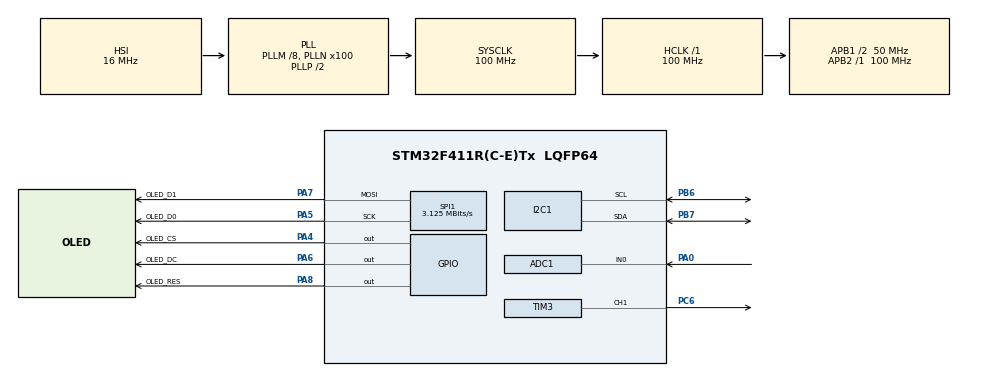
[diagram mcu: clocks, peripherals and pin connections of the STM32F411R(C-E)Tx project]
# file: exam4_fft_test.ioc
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ADC1.Channel-0\#ChannelRegularConversion=ADC_CHANNEL_0
ADC1.ClockPrescaler=ADC_CLOCK_SYNC_PCLK_DIV4
ADC1.ContinuousConvMode=DISABLE
ADC1.DMAContinuousRequests=ENABLE
ADC1.ExternalTrigConv=ADC_EXTERNALTRIGCONV_T2_TRGO
ADC1.NbrOfConversionFlag=1
ADC1.Rank-0\#ChannelRegularConversion=1
ADC1.SamplingTime-0\#ChannelRegularConversion=ADC_SAMPLETIME_3CYCLES
ADC1.master=1
Dma.ADC1.0.Direction=DMA_PERIPH_TO_MEMORY
Dma.ADC1.0.FIFOMode=DMA_FIFOMODE_DISABLE
Dma.ADC1.0.Instance=DMA2_Stream0
Dma.ADC1.0.MemDataAlignment=DMA_MDATAALIGN_HALFWORD
Dma.ADC1.0.MemInc=DMA_MINC_ENABLE
Dma.ADC1.0.Mode=DMA_CIRCULAR
Dma.ADC1.0.PeriphDataAlignment=DMA_PDATAALIGN_HALFWORD
Dma.ADC1.0.PeriphInc=DMA_PINC_DISABLE
Dma.ADC1.0.Priority=DMA_PRIORITY_LOW
Dma.Request0=ADC1
I2C1.I2C_Mode=I2C_Standard
Mcu.Family=STM32F4
Mcu.Name=STM32F411R(C-E)Tx
Mcu.Package=LQFP64
NVIC.DMA2_Stream0_IRQn=true\:0\:0\:false\:false\:true\:false\:true\:true
NVIC.PriorityGroup=NVIC_PRIORITYGROUP_4
NVIC.TIM2_IRQn=true\:0\:0\:false\:false\:true\:true\:true\:true
PA0-WKUP.Signal=ADCx_IN0
PA4.GPIO_Label=OLED_CS
PA4.Signal=GPIO_Output
PA5.GPIO_Label=OLED_D0
PA5.Mode=TX_Only_Simplex_Unidirect_Master
PA5.Signal=SPI1_SCK
PA6.GPIO_Label=OLED_DC
PA6.Signal=GPIO_Output
PA7.GPIO_Label=OLED_D1
PA7.Mode=TX_Only_Simplex_Unidirect_Master
PA7.Signal=SPI1_MOSI
PA8.GPIO_Label=OLED_RES
PA8.Signal=GPIO_Output
PB6.GPIO_Pu=GPIO_PULLUP
PB6.Mode=I2C
PB6.Signal=I2C1_SCL
PB7.GPIO_Pu=GPIO_PULLUP
PB7.Mode=I2C
PB7.Signal=I2C1_SDA
PC6.Signal=S_TIM3_CH1
ProjectManager.HeapSize=0x200
ProjectManager.StackSize=0x400
ProjectManager.TargetToolchain=STM32CubeIDE
RCC.48MHZClocksFreq_Value=50000000
RCC.AHBFreq_Value=100000000
RCC.APB1CLKDivider=RCC_HCLK_DIV2
RCC.APB1Freq_Value=50000000
RCC.APB1TimFreq_Value=100000000
RCC.APB2Freq_Value=100000000
RCC.APB2TimFreq_Value=100000000
RCC.CortexFreq_Value=100000000
RCC.HCLKFreq_Value=100000000
RCC.HSE_VALUE=25000000
RCC.HSI_VALUE=16000000
RCC.LSE_VALUE=32768
RCC.PLLM=8
RCC.PLLN=100
RCC.SYSCLKFreq_VALUE=100000000
RCC.SYSCLKSource=RCC_SYSCLKSOURCE_PLLCLK
RCC.VCOOutputFreq_Value=200000000
SH.ADCx_IN0.0=ADC1_IN0,IN0
SH.S_TIM3_CH1.0=TIM3_CH1,PWM Generation1 CH1
SPI1.BaudRatePrescaler=SPI_BAUDRATEPRESCALER_32
SPI1.CLKPhase=SPI_PHASE_2EDGE
SPI1.CLKPolarity=SPI_POLARITY_HIGH
SPI1.CalculateBaudRate=3.125 MBits/s
SPI1.Direction=SPI_DIRECTION_2LINES
SPI1.Mode=SPI_MODE_MASTER
SPI1.VirtualNSS=VM_NSSHARD
SPI1.VirtualType=VM_MASTER
TIM2.Period=25-1
TIM2.Prescaler=100-1
TIM2.TIM_MasterOutputTrigger=TIM_TRGO_UPDATE
TIM3.Channel-PWM\ Generation1\ CH1=TIM_CHANNEL_1
TIM3.Period=1000-1
TIM3.Prescaler=100-1
TIM3.Pulse-PWM\ Generation1\ CH1=500-1
VP_TIM2_VS_ClockSourceINT.Mode=Internal
VP_TIM3_VS_ClockSourceINT.Mode=Internal
board=custom

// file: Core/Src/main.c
/* USER CODE BEGIN Header */
/**
  ******************************************************************************
  * @file           : main.c
  * @brief          : Main program body
  ******************************************************************************
  * @attention
  *
  * Copyright (c) 2024 STMicroelectronics.
  * All rights reserved.
  *
  * This software is licensed under terms that can be found in the LICENSE file
  * in the root directory of this software component.
  * If no LICENSE file comes with this software, it is provided AS-IS.
  *
  ******************************************************************************
  */
/* USER CODE END Header */
#include "main.h"

/* USER CODE BEGIN Includes */
#include "u8g2/u8g2.h"
#include "arm_math.h"
#include "I2C_CLCD.h"
/* USER CODE END Includes */

/* USER CODE BEGIN PD */
// adding for FFT
#define SamplesFft 2048
#define SamplingRate 40000
/* USER CODE END PD */

ADC_HandleTypeDef hadc1;
DMA_HandleTypeDef hdma_adc1;

I2C_HandleTypeDef hi2c1;

SPI_HandleTypeDef hspi1;

TIM_HandleTypeDef htim2;
TIM_HandleTypeDef htim3;

/* USER CODE BEGIN PV */
  // for FFTtest
//float32_t FFT_Input_Q15_f[50];
//float32_t aFFT_Input_Q15[50];
/* USER CODE END PV */

void SystemClock_Config(void);
static void MX_GPIO_Init(void);
static void MX_DMA_Init(void);
static void MX_SPI1_Init(void);
static void MX_ADC1_Init(void);
static void MX_TIM2_Init(void);
static void MX_TIM3_Init(void);
static void MX_I2C1_Init(void);
/* USER CODE BEGIN PFP */
uint8_t u8x8_stm32_gpio_and_delay(u8x8_t *u8x8, uint8_t msg, uint8_t arg_int, void *arg_ptr);
uint8_t u8x8_byte_stm32_hw_spi(u8x8_t *u8x8, uint8_t msg, uint8_t arg_int, void *arg_ptr);
/* USER CODE END PFP */

/* USER CODE BEGIN 0 */
static u8g2_t u8g2;
uint32_t doConvert = 128;

// adding for FFT
uint16_t adcValue[SamplesFft];
float32_t input[SamplesFft];
float32_t output[SamplesFft];

void HAL_TIM_PeriodElapsedCallback(TIM_HandleTypeDef *htim){
	if(doConvert > 0) doConvert--;

}
/* USER CODE END 0 */

int main(void)
{

  /* USER CODE BEGIN 1 */
//	arm_float_to_q15((float32_t *)&FFT_Input_Q15_f[0], (q15_t *)&aFFT_Input_Q15[0], SamplesFft*2);
  /* USER CODE END 1 */

  /* MCU Configuration--------------------------------------------------------*/

  /* Reset of all peripherals, Initializes the Flash interface and the Systick. */
  HAL_Init();

  /* Configure the system clock */
  SystemClock_Config();

  /* Initialize all configured peripherals */
  MX_GPIO_Init();
  MX_DMA_Init();
  MX_SPI1_Init();
  MX_ADC1_Init();
  MX_TIM2_Init();
  MX_TIM3_Init();
  MX_I2C1_Init();
  /* USER CODE BEGIN 2 */

//  uint16_t adcValue;
//  HAL_ADC_Start_DMA(&hadc1, &adcValue, 1);
  uint16_t adcValue[SamplesFft];
  HAL_ADC_Start_DMA(&hadc1, (uint32_t *)adcValue, SamplesFft);  // Do not need anything to read sound reference

  // timer start
  HAL_TIM_Base_Start_IT(&htim2);
  HAL_TIM_PWM_Start(&htim3, TIM_CHANNEL_1);

  // init CLCD
  I2C_CLCD_init(&hi2c1);

  // ssd1306 setup
  u8g2_Setup_ssd1306_128x64_noname_f(&u8g2, U8G2_R0, u8x8_byte_stm32_hw_spi, u8x8_stm32_gpio_and_delay);
  u8g2_InitDisplay(&u8g2);				// init
  u8g2_SetPowerSave(&u8g2, 0);		// 1 is power off, 0 is on
  u8g2_ClearBuffer(&u8g2);
  u8g2_SetFont(&u8g2, u8g2_font_5x7_mf);
  /* USER CODE END 2 */

  /* Infinite loop */
  /* USER CODE BEGIN WHILE */
  u8g2_SetDrawColor(&u8g2, 1);

  /*/ init test code
  int lineNumber = 10;
  for (int address = 0; address < 256; address++) {
  	// ACK check code
  	if(HAL_I2C_IsDeviceReady(&hi2c1, address, 0, 1) == HAL_OK){
  		char str[20];
  		sprintf(str, "0x%02x", address);

  		u8g2_DrawStr(&u8g2, 0, lineNumber, str);
  		lineNumber += 10;
  	}
  }
  u8g2_SendBuffer(&u8g2);
  while(1);
  /*/

  // lcd custom font
  I2C_CLCD_CustomFontVertical();

  for (int i = 0; i<17; i++){
  	I2C_CLCD_ProgressbarVertical(i, 0);
  	I2C_CLCD_ProgressbarVertical(16-i, 1);
  	HAL_Delay(50);
  }

  while(1);
  //*/

  // adding for FFT
  arm_rfft_fast_instance_f32 fftInstance;
  arm_rfft_fast_init_f32(&fftInstance, SamplesFft);

  // vertical progress bar font
  I2C_CLCD_CustomFontVertical();

  while (1)
  {
  	static int time;
  	static int freq = 1;

  	if ((HAL_GetTick() - time) > 10){
  		time = HAL_GetTick();
  		freq += 10;
  		freq %= 10000;
  		htim3.Instance->ARR = 1000000 / freq - 1;
  		htim3.Instance->CNT = 0;
  		htim3.Instance->CCR1 = htim3.Instance->ARR / 2;
  	}

  	if(doConvert == 0){
  		doConvert = SamplesFft;
  		// Action
  		for(int i=0; i<SamplesFft; i++)
  			input[i] = (float32_t) adcValue[i];

  		// Calculate fft
  		arm_rfft_fast_f32(&fftInstance, input, output, 0);

  		// search frequency
  		float32_t magnitude[SamplesFft/2];
  		arm_cmplx_mag_f32(output, magnitude, SamplesFft/2);

  		// save jinpock
  		uint32_t maxIndex = 0;
  		float32_t maxValue = 0;
  		for (int i=2; i < SamplesFft/2; i++){
  			if(magnitude[i] > maxValue){
  				maxValue = magnitude[i];
  				maxIndex = i;
  			}
  		}
  		float fequency = maxIndex * ((float)SamplingRate / (float)SamplesFft);

  	  // align data
  	  uint32_t showData[128] = {0,};
  	  for (int i=0; i<128; i++){
  		  for (int k=0; k<8; k++){
  			  showData[i] += output[i*8 + k];
  		  }
  		  showData[i] /= 40000;
  	  }

  	  // Align data for lcd
  	  uint32_t showDataLcd[16] = {0, };
  	  for (int i = 0; i < 16; i++){
  	  	for (int k = 0; k < 64; k++){
  	  		showDataLcd[i] += output[i*64 + k];
  	  	}
  	  	showDataLcd[i] /= 40000;
  	  }

  		// Show display
    	u8g2_ClearBuffer(&u8g2);
    	// whye 0, 1 is not used? most of time those values are noise
    	for(int x = 2; x <128; x++){
    		if (showData[x] > 63) showData[x] = 63;
    		// 63? 64? line will be start from left top
    		u8g2_DrawLine(&u8g2, x, 63, x, 64-showData[x]);
    	}

    	char str[20];
    	sprintf(str, "%5d Hz", (int)fequency);

    	// show frequency
    	u8g2_DrawStr(&u8g2, 70, 10, str);
    	u8g2_SendBuffer(&u8g2);

    	// show in LCD
    	for (int x=0; x < 16; x++){
    		I2C_CLCD_ProgressbarVertical(showDataLcd[x], x);
    	}

//    	I2C_CLCD_GotoXY(0, 0);
//    	I2C_CLCD_PutStr(str);
  	}
    /* USER CODE END WHILE */

  }
}

void SystemClock_Config(void)
{
  RCC_OscInitTypeDef RCC_OscInitStruct = {0};
  RCC_ClkInitTypeDef RCC_ClkInitStruct = {0};

  /** Configure the main internal regulator output voltage
  */
  __HAL_RCC_PWR_CLK_ENABLE();
  __HAL_PWR_VOLTAGESCALING_CONFIG(PWR_REGULATOR_VOLTAGE_SCALE1);

  /** Initializes the RCC Oscillators according to the specified parameters
  * in the RCC_OscInitTypeDef structure.
  */
  RCC_OscInitStruct.OscillatorType = RCC_OSCILLATORTYPE_HSI;
  RCC_OscInitStruct.HSIState = RCC_HSI_ON;
  RCC_OscInitStruct.HSICalibrationValue = RCC_HSICALIBRATION_DEFAULT;
  RCC_OscInitStruct.PLL.PLLState = RCC_PLL_ON;
  RCC_OscInitStruct.PLL.PLLSource = RCC_PLLSOURCE_HSI;
  RCC_OscInitStruct.PLL.PLLM = 8;
  RCC_OscInitStruct.PLL.PLLN = 100;
  RCC_OscInitStruct.PLL.PLLP = RCC_PLLP_DIV2;
  RCC_OscInitStruct.PLL.PLLQ = 4;
  if (HAL_RCC_OscConfig(&RCC_OscInitStruct) != HAL_OK)
  {
    Error_Handler();
  }

  /** Initializes the CPU, AHB and APB buses clocks
  */
  RCC_ClkInitStruct.ClockType = RCC_CLOCKTYPE_HCLK|RCC_CLOCKTYPE_SYSCLK
                              |RCC_CLOCKTYPE_PCLK1|RCC_CLOCKTYPE_PCLK2;
  RCC_ClkInitStruct.SYSCLKSource = RCC_SYSCLKSOURCE_PLLCLK;
  RCC_ClkInitStruct.AHBCLKDivider = RCC_SYSCLK_DIV1;
  RCC_ClkInitStruct.APB1CLKDivider = RCC_HCLK_DIV2;
  RCC_ClkInitStruct.APB2CLKDivider = RCC_HCLK_DIV1;

  if (HAL_RCC_ClockConfig(&RCC_ClkInitStruct, FLASH_LATENCY_3) != HAL_OK)
  {
    Error_Handler();
  }
}

static void MX_ADC1_Init(void)
{

  ADC_ChannelConfTypeDef sConfig = {0};

  /** Configure the global features of the ADC (Clock, Resolution, Data Alignment and number of conversion)
  */
  hadc1.Instance = ADC1;
  hadc1.Init.ClockPrescaler = ADC_CLOCK_SYNC_PCLK_DIV4;
  hadc1.Init.Resolution = ADC_RESOLUTION_12B;
  hadc1.Init.ScanConvMode = DISABLE;
  hadc1.Init.ContinuousConvMode = DISABLE;
  hadc1.Init.DiscontinuousConvMode = DISABLE;
  hadc1.Init.ExternalTrigConvEdge = ADC_EXTERNALTRIGCONVEDGE_RISING;
  hadc1.Init.ExternalTrigConv = ADC_EXTERNALTRIGCONV_T2_TRGO;
  hadc1.Init.DataAlign = ADC_DATAALIGN_RIGHT;
  hadc1.Init.NbrOfConversion = 1;
  hadc1.Init.DMAContinuousRequests = ENABLE;
  hadc1.Init.EOCSelection = ADC_EOC_SINGLE_CONV;
  if (HAL_ADC_Init(&hadc1) != HAL_OK)
  {
    Error_Handler();
  }

  /** Configure for the selected ADC regular channel its corresponding rank in the sequencer and its sample time.
  */
  sConfig.Channel = ADC_CHANNEL_0;
  sConfig.Rank = 1;
  sConfig.SamplingTime = ADC_SAMPLETIME_3CYCLES;
  if (HAL_ADC_ConfigChannel(&hadc1, &sConfig) != HAL_OK)
  {
    Error_Handler();
  }

}

static void MX_I2C1_Init(void)
{

  hi2c1.Instance = I2C1;
  hi2c1.Init.ClockSpeed = 100000;
  hi2c1.Init.DutyCycle = I2C_DUTYCYCLE_2;
  hi2c1.Init.OwnAddress1 = 0;
  hi2c1.Init.AddressingMode = I2C_ADDRESSINGMODE_7BIT;
  hi2c1.Init.DualAddressMode = I2C_DUALADDRESS_DISABLE;
  hi2c1.Init.OwnAddress2 = 0;
  hi2c1.Init.GeneralCallMode = I2C_GENERALCALL_DISABLE;
  hi2c1.Init.NoStretchMode = I2C_NOSTRETCH_DISABLE;
  if (HAL_I2C_Init(&hi2c1) != HAL_OK)
  {
    Error_Handler();
  }

}

static void MX_SPI1_Init(void)
{

  /* SPI1 parameter configuration*/
  hspi1.Instance = SPI1;
  hspi1.Init.Mode = SPI_MODE_MASTER;
  hspi1.Init.Direction = SPI_DIRECTION_2LINES;
  hspi1.Init.DataSize = SPI_DATASIZE_8BIT;
  hspi1.Init.CLKPolarity = SPI_POLARITY_HIGH;
  hspi1.Init.CLKPhase = SPI_PHASE_2EDGE;
  hspi1.Init.NSS = SPI_NSS_SOFT;
  hspi1.Init.BaudRatePrescaler = SPI_BAUDRATEPRESCALER_32;
  hspi1.Init.FirstBit = SPI_FIRSTBIT_MSB;
  hspi1.Init.TIMode = SPI_TIMODE_DISABLE;
  hspi1.Init.CRCCalculation = SPI_CRCCALCULATION_DISABLE;
  hspi1.Init.CRCPolynomial = 10;
  if (HAL_SPI_Init(&hspi1) != HAL_OK)
  {
    Error_Handler();
  }

}

static void MX_TIM2_Init(void)
{

  TIM_ClockConfigTypeDef sClockSourceConfig = {0};
  TIM_MasterConfigTypeDef sMasterConfig = {0};

  htim2.Instance = TIM2;
  htim2.Init.Prescaler = 100-1;
  htim2.Init.CounterMode = TIM_COUNTERMODE_UP;
  htim2.Init.Period = 25-1;
  htim2.Init.ClockDivision = TIM_CLOCKDIVISION_DIV1;
  htim2.Init.AutoReloadPreload = TIM_AUTORELOAD_PRELOAD_DISABLE;
  if (HAL_TIM_Base_Init(&htim2) != HAL_OK)
  {
    Error_Handler();
  }
  sClockSourceConfig.ClockSource = TIM_CLOCKSOURCE_INTERNAL;
  if (HAL_TIM_ConfigClockSource(&htim2, &sClockSourceConfig) != HAL_OK)
  {
    Error_Handler();
  }
  sMasterConfig.MasterOutputTrigger = TIM_TRGO_UPDATE;
  sMasterConfig.MasterSlaveMode = TIM_MASTERSLAVEMODE_DISABLE;
  if (HAL_TIMEx_MasterConfigSynchronization(&htim2, &sMasterConfig) != HAL_OK)
  {
    Error_Handler();
  }

}

static void MX_TIM3_Init(void)
{

  TIM_ClockConfigTypeDef sClockSourceConfig = {0};
  TIM_MasterConfigTypeDef sMasterConfig = {0};
  TIM_OC_InitTypeDef sConfigOC = {0};

  htim3.Instance = TIM3;
  htim3.Init.Prescaler = 100-1;
  htim3.Init.CounterMode = TIM_COUNTERMODE_UP;
  htim3.Init.Period = 1000-1;
  htim3.Init.ClockDivision = TIM_CLOCKDIVISION_DIV1;
  htim3.Init.AutoReloadPreload = TIM_AUTORELOAD_PRELOAD_DISABLE;
  if (HAL_TIM_Base_Init(&htim3) != HAL_OK)
  {
    Error_Handler();
  }
  sClockSourceConfig.ClockSource = TIM_CLOCKSOURCE_INTERNAL;
  if (HAL_TIM_ConfigClockSource(&htim3, &sClockSourceConfig) != HAL_OK)
  {
    Error_Handler();
  }
  if (HAL_TIM_PWM_Init(&htim3) != HAL_OK)
  {
    Error_Handler();
  }
  sMasterConfig.MasterOutputTrigger = TIM_TRGO_RESET;
  sMasterConfig.MasterSlaveMode = TIM_MASTERSLAVEMODE_DISABLE;
  if (HAL_TIMEx_MasterConfigSynchronization(&htim3, &sMasterConfig) != HAL_OK)
  {
    Error_Handler();
  }
  sConfigOC.OCMode = TIM_OCMODE_PWM1;
  sConfigOC.Pulse = 500-1;
  sConfigOC.OCPolarity = TIM_OCPOLARITY_HIGH;
  sConfigOC.OCFastMode = TIM_OCFAST_DISABLE;
  if (HAL_TIM_PWM_ConfigChannel(&htim3, &sConfigOC, TIM_CHANNEL_1) != HAL_OK)
  {
    Error_Handler();
  }
  HAL_TIM_MspPostInit(&htim3);

}

static void MX_DMA_Init(void)
{

  /* DMA controller clock enable */
  __HAL_RCC_DMA2_CLK_ENABLE();

  /* DMA interrupt init */
  /* DMA2_Stream0_IRQn interrupt configuration */
  HAL_NVIC_SetPriority(DMA2_Stream0_IRQn, 0, 0);
  HAL_NVIC_EnableIRQ(DMA2_Stream0_IRQn);

}

static void MX_GPIO_Init(void)
{
  GPIO_InitTypeDef GPIO_InitStruct = {0};

  /* GPIO Ports Clock Enable */
  __HAL_RCC_GPIOA_CLK_ENABLE();
  __HAL_RCC_GPIOC_CLK_ENABLE();
  __HAL_RCC_GPIOB_CLK_ENABLE();

  /*Configure GPIO pin Output Level */
  HAL_GPIO_WritePin(GPIOA, OLED_CS_Pin|OLED_DC_Pin|OLED_RES_Pin, GPIO_PIN_RESET);

  /*Configure GPIO pins : OLED_CS_Pin OLED_DC_Pin OLED_RES_Pin */
  GPIO_InitStruct.Pin = OLED_CS_Pin|OLED_DC_Pin|OLED_RES_Pin;
  GPIO_InitStruct.Mode = GPIO_MODE_OUTPUT_PP;
  GPIO_InitStruct.Pull = GPIO_NOPULL;
  GPIO_InitStruct.Speed = GPIO_SPEED_FREQ_LOW;
  HAL_GPIO_Init(GPIOA, &GPIO_InitStruct);

}

void Error_Handler(void)
{
  __disable_irq();
  while (1)
  {
  }
}
